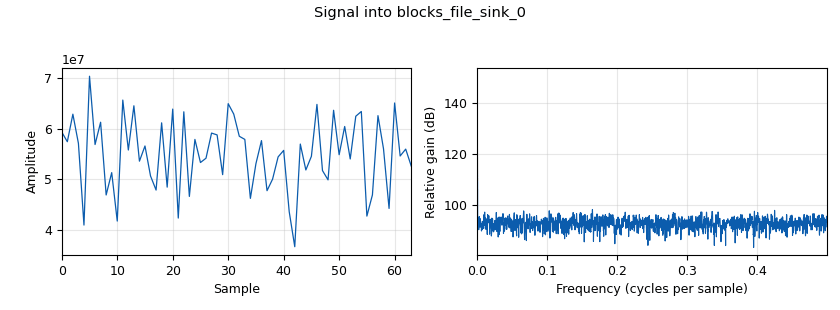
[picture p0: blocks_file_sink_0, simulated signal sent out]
options:
  parameters:
    author: Daniel Estevez
    generate_options: no_gui
    id: filterbank_simulation
    output_language: python
    run_options: run
    title: Filterbank simulation
  states: {}

blocks:
- name: drift_duration
  id: variable
  parameters:
    value: '400'
  states: {}
- name: drift_rate
  id: variable
  parameters:
    value: '10'
  states: {}
- name: hz_per_bin
  id: variable
  parameters:
    comment: Frequency Resolution
    value: samp_rate / nfft
  states: {}
- name: n0
  id: variable
  parameters:
    value: noise_amplitude**2 / samp_rate
  states: {}
- name: n_int
  id: variable
  parameters:
    value: '51'
  states: {}
- name: nfft
  id: variable
  parameters:
    comment: |-
      High Sepctral Resolution
      FFT of 2**20 used for specific 
      Freq Resolution (~2.79 Hz)
    value: 2**20
  states: {}
- name: noise_amplitude
  id: variable
  parameters:
    value: '1'
  states: {}
- name: samp_rate
  id: variable
  parameters:
    comment: |-
      187.5e6 Frequency Windows
      divided into 64 bins
    value: 187.5e6 / 64
  states: {}
- name: sec_per_int
  id: variable
  parameters:
    comment: Time Resolution
    value: nfft * n_int / samp_rate
  states: {}
- name: time_resampling
  id: variable
  parameters:
    value: '100'
  states: {}
- name: tone_amplitude
  id: variable
  parameters:
    value: np.sqrt(10**(tone_cn0 / 10) * n0)
  states: {}
- name: tone_cn0
  id: variable
  parameters:
    value: '20'
  states: {}
- name: analog_noise_source_x_0
  id: analog_noise_source_x
  parameters:
    amp: noise_amplitude
    noise_type: analog.GR_GAUSSIAN
    seed: '0'
    type: complex
  states: {}
- name: analog_sig_source_x_0
  id: analog_sig_source_x
  parameters:
    amp: np.sqrt(10**(tone_cn0 / 10) * n0)
    freq: 0.5e6
    offset: '0'
    phase: '0'
    samp_rate: samp_rate
    type: complex
    waveform: analog.GR_COS_WAVE
  states: {state: disabled}
- name: analog_sig_source_x_0_0
  id: analog_sig_source_x
  parameters:
    amp: drift_rate * drift_duration
    freq: 1/drift_duration
    offset: '0'
    phase: '-np.pi'
    samp_rate: samp_rate / time_resampling
    type: float
    waveform: analog.GR_SAW_WAVE
  states: {}
- name: blocks_add_xx_0
  id: blocks_add_xx
  parameters:
    type: complex
  states: {}
- name: blocks_complex_to_mag_squared_0
  id: blocks_complex_to_mag_squared
  parameters:
    vlen: nfft
  states: {}
- name: blocks_file_sink_0
  id: blocks_file_sink
  parameters:
    file: spectrum_output.f32
    type: float
    vlen: nfft
  states: {}
- name: blocks_head_0
  id: blocks_head
  parameters:
    comment: 300 seconds
    num_items: round(samp_rate * 300)
    type: complex
  states: {}
- name: blocks_integrate_xx_0
  id: blocks_integrate_xx
  parameters:
    decim: n_int
    type: float
    vlen: nfft
  states: {}
- name: blocks_repeat_0
  id: blocks_repeat
  parameters:
    interp: time_resampling
    type: float
  states: {state: disabled}
- name: blocks_stream_to_vector_0
  id: blocks_stream_to_vector
  parameters:
    num_items: nfft
    type: complex
  states: {}
- name: blocks_vco_c_0
  id: blocks_vco_c
  parameters:
    amplitude: tone_amplitude
    samp_rate: samp_rate
    sensitivity: 2 * np.pi
  states: {}
- name: fft_vxx_0
  id: fft_vxx
  parameters:
    fft_size: nfft
    forward: 'True'
    shift: 'True'
    type: complex
    window: '[]'
  states: {}
- name: import_0
  id: import
  parameters:
    imports: import numpy as np
  states: {}

connections:
- [analog_noise_source_x_0, '0', blocks_add_xx_0, '0']
- [analog_sig_source_x_0, '0', blocks_add_xx_0, '1']
- [analog_sig_source_x_0_0, '0', blocks_repeat_0, '0']
- [analog_sig_source_x_0_0, '0', blocks_vco_c_0, '0']
- [blocks_add_xx_0, '0', blocks_head_0, '0']
- [blocks_complex_to_mag_squared_0, '0', blocks_integrate_xx_0, '0']
- [blocks_head_0, '0', blocks_stream_to_vector_0, '0']
- [blocks_integrate_xx_0, '0', blocks_file_sink_0, '0']
- [blocks_repeat_0, '0', blocks_vco_c_0, '0']
- [blocks_stream_to_vector_0, '0', fft_vxx_0, '0']
- [blocks_vco_c_0, '0', blocks_add_xx_0, '1']
- [fft_vxx_0, '0', blocks_complex_to_mag_squared_0, '0']

metadata:
  file_format: 1
  grc_version: 3.10.12.0
